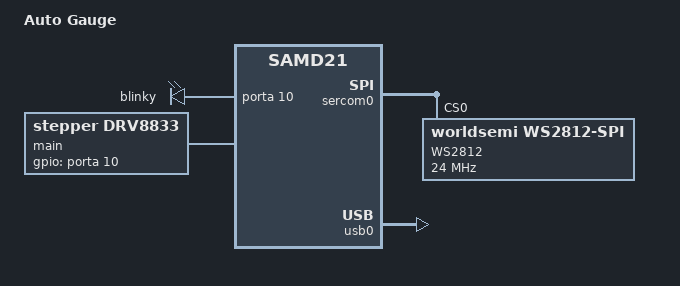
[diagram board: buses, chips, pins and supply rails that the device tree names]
/dts-v1/;
#include <atmel/samd21.dtsi>

/ {
	model = "Auto Gauge";
	compatible = "auto_gauge", "atmel,samd21e18a", "atmel,samd21";

	chosen {
		zephyr,console = &sercom0;
		zephyr,shell-uart = &sercom0;
		zephyr,sram = &sram0;
		zephyr,flash = &flash0;
		zephyr,code-partition = &code_partition;
	};

	leds {
		compatible = "gpio-leds";
		led0: led_0 {
			gpios = <&porta 10 0>;
			label = "blinky";
		};
	};

	gauge: drv8833_0 {
		status = "okay";
		compatible = "stepper,drv8833";
		id = <2>;
		gpios = <&porta 10 0>;
		label = "main";
	};
};

&cpu0 {
	clock-frequency = <48000000>;
};

&sercom0 {
	#address-cells = <1>;
	#size-cells = <0>;
	status = "okay";
	compatible = "atmel,sam0-spi";
	//current-speed = <115200>;
	dipo = <2>;
	dopo = <1>;

	led_strip: ws2812@0 {
		compatible = "worldsemi,ws2812-spi";
		label = "WS2812";

		reg = <0>;
		spi-max-frequency = <24000000>;


		chain-length = <12>;
		spi-one-frame = <0x70>;
		spi-zero-frame = <0x00>;

	};
};

//missing 2 more sercoms...

&flash0 {
	partitions {
		compatible = "fixed-partitions";
		#address-cells = <1>;
		#size-cells = <1>;

		// is this needed if we dont use a bootloader?
		boot_partition: partition@0 {
			label = "uf2";
			reg = <0x00000000 0x2000>;
			read-only;
		};

		code_partition: partition@2000 {
			label = "code";
			reg = <0x2000 0x3A000>;
			read-only;
		};

		storage_partition: partition@3c000 {
			label = "storage";
			reg = <0x0003c000 0x4000>;
		};
	};
};

&usb0 {
	status = "okay";
};
